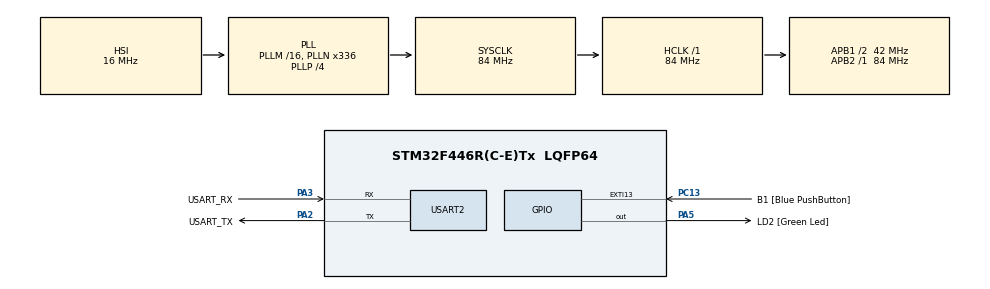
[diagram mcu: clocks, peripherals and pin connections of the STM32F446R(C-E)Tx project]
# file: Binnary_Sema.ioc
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Mcu.Family=STM32F4
Mcu.Name=STM32F446R(C-E)Tx
Mcu.Package=LQFP64
NVIC.PriorityGroup=NVIC_PRIORITYGROUP_4
NVIC.TIM6_DAC_IRQn=true\:15\:0\:false\:false\:true\:false\:true\:true
NVIC.TimeBase=TIM6_DAC_IRQn
NVIC.TimeBaseIP=TIM6
PA13.GPIO_Label=TMS
PA13.Signal=SYS_JTMS-SWDIO
PA14.GPIO_Label=TCK
PA14.Signal=SYS_JTCK-SWCLK
PA2.GPIO_Label=USART_TX
PA2.Mode=Asynchronous
PA2.Signal=USART2_TX
PA3.GPIO_Label=USART_RX
PA3.Mode=Asynchronous
PA3.Signal=USART2_RX
PA5.GPIO_Label=LD2 [Green Led]
PA5.Signal=GPIO_Output
PB3.GPIO_Label=SWO
PB3.Signal=SYS_JTDO-SWO
PC13.GPIO_Label=B1 [Blue PushButton]
PC13.GPIO_ModeDefaultEXTI=GPIO_MODE_IT_FALLING
PC13.Signal=GPXTI13
PC14-OSC32_IN.Signal=RCC_OSC32_IN
PC15-OSC32_OUT.Signal=RCC_OSC32_OUT
PH0-OSC_IN.Signal=RCC_OSC_IN
PH1-OSC_OUT.Signal=RCC_OSC_OUT
ProjectManager.HeapSize=0x200
ProjectManager.StackSize=0x400
ProjectManager.TargetToolchain=STM32CubeIDE
RCC.AHBFreq_Value=84000000
RCC.APB1CLKDivider=RCC_HCLK_DIV2
RCC.APB1Freq_Value=42000000
RCC.APB1TimFreq_Value=84000000
RCC.APB2Freq_Value=84000000
RCC.APB2TimFreq_Value=84000000
RCC.CortexFreq_Value=84000000
RCC.FLatency-AdvancedSettings=FLASH_LATENCY_2
RCC.HCLKFreq_Value=84000000
RCC.HSE_VALUE=8000000
RCC.HSI_VALUE=16000000
RCC.LSE_VALUE=32768
RCC.PLLN=336
RCC.PLLP=RCC_PLLP_DIV4
RCC.SYSCLKFreq_VALUE=84000000
RCC.SYSCLKSource=RCC_SYSCLKSOURCE_PLLCLK
RCC.USBFreq_Value=168000000
RCC.VCOOutputFreq_Value=336000000
USART2.VirtualMode=VM_ASYNC
VP_SYS_VS_tim6.Mode=TIM6
board=NUCLEO-F446RE

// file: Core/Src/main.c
/* USER CODE BEGIN Header */
/**
  ******************************************************************************
  * @file           : main.c
  * @brief          : Main program body
  ******************************************************************************
  * @attention
  *
  * Copyright (c) 2025 STMicroelectronics.
  * All rights reserved.
  *
  * This software is licensed under terms that can be found in the LICENSE file
  * in the root directory of this software component.
  * If no LICENSE file comes with this software, it is provided AS-IS.
  *
  ******************************************************************************
  */
/* USER CODE END Header */
#include "main.h"

/* USER CODE BEGIN Includes */

#include "FreeRTOS.h"
#include "task.h"
#include "queue.h"
#include "semphr.h"
#include <string.h>
#include <stdlib.h>
#include <stdio.h>

/* USER CODE END Includes */

UART_HandleTypeDef huart2;

/* USER CODE BEGIN PV */

char msg[50];

/* USER CODE END PV */

void SystemClock_Config(void);
static void MX_GPIO_Init(void);
static void MX_USART2_UART_Init(void);
/* USER CODE BEGIN PFP */

QueueHandle_t queue_handler;
SemaphoreHandle_t sema_handle;

void Manager_task(void *parameter);
void Employee_task(void *parameter);
void printmsg(char msg[]);
void send_id(unsigned char);

/* USER CODE END PFP */

/* USER CODE BEGIN 0 */

TaskHandle_t emp_task_handle;
TaskHandle_t man_task_handle;

/* USER CODE END 0 */

int main(void)
{

  /* USER CODE BEGIN 1 */
	BaseType_t status;

  /* USER CODE END 1 */

  /* MCU Configuration--------------------------------------------------------*/

  /* Reset of all peripherals, Initializes the Flash interface and the Systick. */
  HAL_Init();

  /* Configure the system clock */
  SystemClock_Config();

  /* Initialize all configured peripherals */
  MX_GPIO_Init();
  MX_USART2_UART_Init();
  /* USER CODE BEGIN 2 */

  status = xTaskCreate(Employee_task, "Employee Task", 250, NULL, 3, &emp_task_handle);
  configASSERT(status == pdPASS);

  status = xTaskCreate(Manager_task, "Manager Task", 250, NULL, 4, &man_task_handle);
  configASSERT(status == pdPASS);

  sema_handle = xSemaphoreCreateBinary();
  configASSERT(sema_handle != NULL);

  queue_handler = xQueueCreate(1,sizeof(unsigned int));
  configASSERT(queue_handler != NULL);

  vTaskStartScheduler();

  /* USER CODE END 2 */

  /* Infinite loop */
  while (1)
  {

  }
}

void SystemClock_Config(void)
{
  RCC_OscInitTypeDef RCC_OscInitStruct = {0};
  RCC_ClkInitTypeDef RCC_ClkInitStruct = {0};

  /** Configure the main internal regulator output voltage
  */
  __HAL_RCC_PWR_CLK_ENABLE();
  __HAL_PWR_VOLTAGESCALING_CONFIG(PWR_REGULATOR_VOLTAGE_SCALE3);

  /** Initializes the RCC Oscillators according to the specified parameters
  * in the RCC_OscInitTypeDef structure.
  */
  RCC_OscInitStruct.OscillatorType = RCC_OSCILLATORTYPE_HSI;
  RCC_OscInitStruct.HSIState = RCC_HSI_ON;
  RCC_OscInitStruct.HSICalibrationValue = RCC_HSICALIBRATION_DEFAULT;
  RCC_OscInitStruct.PLL.PLLState = RCC_PLL_ON;
  RCC_OscInitStruct.PLL.PLLSource = RCC_PLLSOURCE_HSI;
  RCC_OscInitStruct.PLL.PLLM = 16;
  RCC_OscInitStruct.PLL.PLLN = 336;
  RCC_OscInitStruct.PLL.PLLP = RCC_PLLP_DIV4;
  RCC_OscInitStruct.PLL.PLLQ = 2;
  RCC_OscInitStruct.PLL.PLLR = 2;
  if (HAL_RCC_OscConfig(&RCC_OscInitStruct) != HAL_OK)
  {
    Error_Handler();
  }

  /** Initializes the CPU, AHB and APB buses clocks
  */
  RCC_ClkInitStruct.ClockType = RCC_CLOCKTYPE_HCLK|RCC_CLOCKTYPE_SYSCLK
                              |RCC_CLOCKTYPE_PCLK1|RCC_CLOCKTYPE_PCLK2;
  RCC_ClkInitStruct.SYSCLKSource = RCC_SYSCLKSOURCE_PLLCLK;
  RCC_ClkInitStruct.AHBCLKDivider = RCC_SYSCLK_DIV1;
  RCC_ClkInitStruct.APB1CLKDivider = RCC_HCLK_DIV2;
  RCC_ClkInitStruct.APB2CLKDivider = RCC_HCLK_DIV1;

  if (HAL_RCC_ClockConfig(&RCC_ClkInitStruct, FLASH_LATENCY_2) != HAL_OK)
  {
    Error_Handler();
  }
}

static void MX_USART2_UART_Init(void)
{

  huart2.Instance = USART2;
  huart2.Init.BaudRate = 115200;
  huart2.Init.WordLength = UART_WORDLENGTH_8B;
  huart2.Init.StopBits = UART_STOPBITS_1;
  huart2.Init.Parity = UART_PARITY_NONE;
  huart2.Init.Mode = UART_MODE_TX_RX;
  huart2.Init.HwFlowCtl = UART_HWCONTROL_NONE;
  huart2.Init.OverSampling = UART_OVERSAMPLING_16;
  if (HAL_UART_Init(&huart2) != HAL_OK)
  {
    Error_Handler();
  }

}

static void MX_GPIO_Init(void)
{
  GPIO_InitTypeDef GPIO_InitStruct = {0};

  /* GPIO Ports Clock Enable */
  __HAL_RCC_GPIOC_CLK_ENABLE();
  __HAL_RCC_GPIOH_CLK_ENABLE();
  __HAL_RCC_GPIOA_CLK_ENABLE();
  __HAL_RCC_GPIOB_CLK_ENABLE();

  /*Configure GPIO pin Output Level */
  HAL_GPIO_WritePin(LD2_GPIO_Port, LD2_Pin, GPIO_PIN_RESET);

  /*Configure GPIO pin : B1_Pin */
  GPIO_InitStruct.Pin = B1_Pin;
  GPIO_InitStruct.Mode = GPIO_MODE_IT_FALLING;
  GPIO_InitStruct.Pull = GPIO_NOPULL;
  HAL_GPIO_Init(B1_GPIO_Port, &GPIO_InitStruct);

  /*Configure GPIO pin : LD2_Pin */
  GPIO_InitStruct.Pin = LD2_Pin;
  GPIO_InitStruct.Mode = GPIO_MODE_OUTPUT_PP;
  GPIO_InitStruct.Pull = GPIO_NOPULL;
  GPIO_InitStruct.Speed = GPIO_SPEED_FREQ_LOW;
  HAL_GPIO_Init(LD2_GPIO_Port, &GPIO_InitStruct);

}

/* USER CODE BEGIN 4 */
void send_id(unsigned char value)
{
	sprintf(msg,"Employee sent ID : %d\r\n",value);
	printmsg(msg);
	vTaskDelay(value);
}

void printmsg(char msg[])
{
	HAL_UART_Transmit(&huart2,(uint8_t *)msg, strlen(msg), HAL_MAX_DELAY);
}

void Employee_task(void *parameter)
{
	unsigned int rand_id;
	while(1)
	{
		xSemaphoreTake(sema_handle,0);

		xQueueReceive(queue_handler, &rand_id, portMAX_DELAY);

		send_id(rand_id);

	}

}

void Manager_task(void *parameter)
{
	unsigned int rand_id;

	/*he semaphore is created in the 'empty' state, meaning the semaphore must first be given using the xSemaphoreGive()*/
	xSemaphoreGive(sema_handle);

	while(1)
	{

		rand_id = (rand() & 0x01FF); // %512 it ensure that the values is between 0 to 512

		xQueueSend(queue_handler,&rand_id,portMAX_DELAY);

		xSemaphoreGive(sema_handle);

		taskYIELD();
	}

}
/* USER CODE END 4 */

void HAL_TIM_PeriodElapsedCallback(TIM_HandleTypeDef *htim)
{
  if (htim->Instance == TIM6) {
    HAL_IncTick();
  }
}

void Error_Handler(void)
{
  __disable_irq();
  while (1)
  {
  }
}
